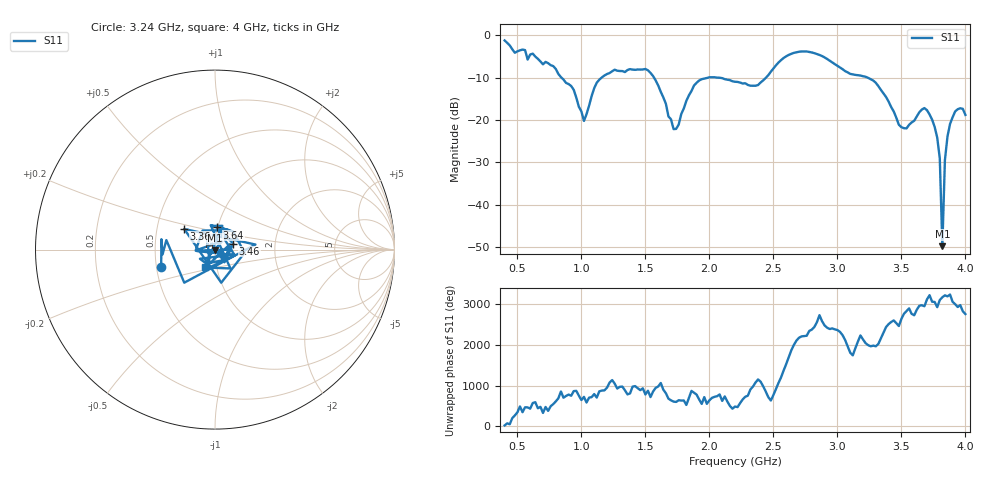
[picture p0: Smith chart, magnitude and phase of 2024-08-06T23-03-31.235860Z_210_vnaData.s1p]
!Created with skrf (http://scikit-rf.org).
# Hz S RI R 50.0
!freq ReS11 ImS11
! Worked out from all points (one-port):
!   181 points, 400 MHz to 4 GHz, reference 50 ohm
!   lowest |S11| = -49.8 dB at 3.82 GHz (marker M1), VSWR 1.01, Z = 50.1 - j0.299 ohm
!   |S11| at or under -10 dB: 1.568 GHz to 1.987 GHz (419.3 MHz wide, 23.6 % of centre); 2.081 GHz to 2.441 GHz (360.3 MHz wide, 15.9 % of centre); 3.238 GHz to end of sweep (the widest 3 of 4)
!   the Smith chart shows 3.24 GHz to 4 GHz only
!   S11 on the Smith chart (normalised r, x): 3.24 GHz: 0.53, -0.11; 3.36 GHz: 0.69, +0.17; 3.46 GHz: 1.22, +0.08; 3.64 GHz: 0.99, +0.25; 4 GHz: 0.87, -0.18
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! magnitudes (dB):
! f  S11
! 400 MHz  -1.2
! 860 MHz  -10.4
! 940 MHz  -12.8
! 1.02 GHz  -20.2
! 1.12 GHz  -11.2
! 1.3 GHz  -8.4
! 1.52 GHz  -8.2
! 1.6 GHz  -11.8
! 1.72 GHz  -22.1
! 1.76 GHz  -21.1
! 1.92 GHz  -10.6
! 2.2 GHz  -10.9
! 2.38 GHz  -11.7
! 2.66 GHz  -4.1
! 3.1 GHz  -9.1
! 3.24 GHz  -10.0
! 3.36 GHz  -13.7
! 3.46 GHz  -19.4
! 3.56 GHz  -21.1
! 3.64 GHz  -18.1
! 3.7 GHz  -17.7
! 3.78 GHz  -24.1
! 3.8 GHz  -29.0
! 3.82 GHz  -49.8
! 3.84 GHz  -29.4
! 3.86 GHz  -23.9
! 3.92 GHz  -18.0
! 4 GHz  -18.8
